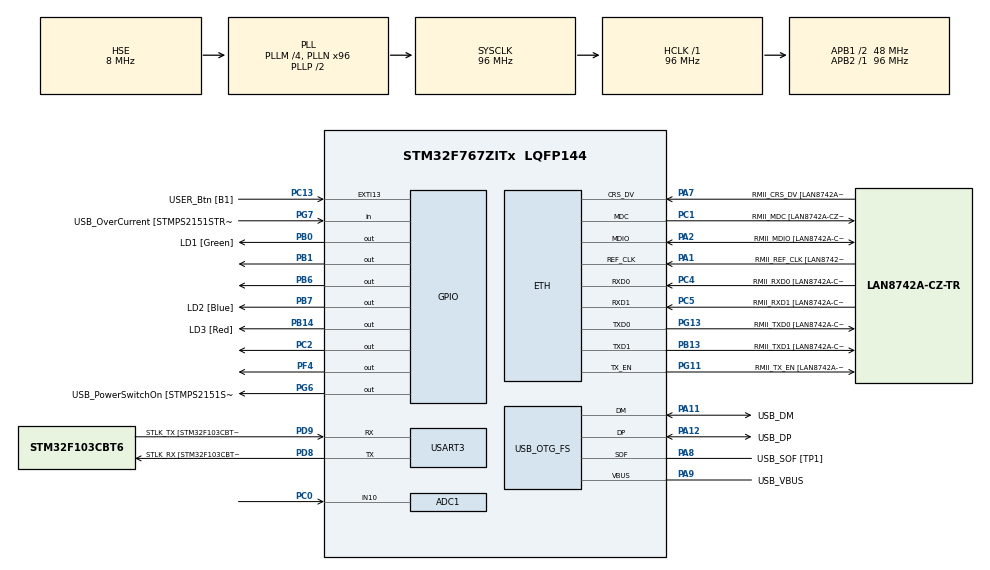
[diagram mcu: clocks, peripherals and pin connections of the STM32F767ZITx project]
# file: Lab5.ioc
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ADC1.Channel-0\#ChannelRegularConversion=ADC_CHANNEL_10
ADC1.ContinuousConvMode=ENABLE
ADC1.EOCSelection=ADC_EOC_SEQ_CONV
ADC1.EnableAnalogWatchDog=false
ADC1.NbrOfConversionFlag=1
ADC1.Rank-0\#ChannelRegularConversion=1
ADC1.SamplingTime-0\#ChannelRegularConversion=ADC_SAMPLETIME_3CYCLES
ADC1.master=1
ETH.MediaInterface=HAL_ETH_RMII_MODE
ETH.PHY_Name=LAN8742A_PHY_ADDRESS
ETH.PHY_Value=0
ETH.PhyAddress=0
Mcu.Family=STM32F7
Mcu.Name=STM32F767ZITx
Mcu.Package=LQFP144
NVIC.PriorityGroup=NVIC_PRIORITYGROUP_4
PA1.GPIO_Label=RMII_REF_CLK [LAN8742A-CZ-TR_REFCLK0]
PA1.Mode=RMII
PA1.Signal=ETH_REF_CLK
PA10.GPIO_Label=USB_ID
PA10.Signal=USB_OTG_FS_ID
PA11.GPIO_Label=USB_DM
PA11.Mode=Device_Only
PA11.Signal=USB_OTG_FS_DM
PA12.GPIO_Label=USB_DP
PA12.Mode=Device_Only
PA12.Signal=USB_OTG_FS_DP
PA13.GPIO_Label=TMS
PA13.Mode=Serial_Wire
PA13.Signal=SYS_JTMS-SWDIO
PA14.GPIO_Label=TCK
PA14.Mode=Serial_Wire
PA14.Signal=SYS_JTCK-SWCLK
PA2.GPIO_Label=RMII_MDIO [LAN8742A-CZ-TR_MDIO]
PA2.Mode=RMII
PA2.Signal=ETH_MDIO
PA7.GPIO_Label=RMII_CRS_DV [LAN8742A-CZ-TR_CRS_DV]
PA7.Mode=RMII
PA7.Signal=ETH_CRS_DV
PA8.GPIO_Label=USB_SOF [TP1]
PA8.Mode=Activate_SOF_FS
PA8.Signal=USB_OTG_FS_SOF
PA9.GPIO_Label=USB_VBUS
PA9.Mode=Activate_VBUS
PA9.Signal=USB_OTG_FS_VBUS
PB0.GPIO_Label=LD1 [Green]
PB0.Signal=GPIO_Output
PB1.Signal=GPIO_Output
PB13.GPIO_Label=RMII_TXD1 [LAN8742A-CZ-TR_TXD1]
PB13.Mode=RMII
PB13.Signal=ETH_TXD1
PB14.GPIO_Label=LD3 [Red]
PB14.Signal=GPIO_Output
PB3.GPIO_Label=SWO
PB3.Signal=SYS_JTDO-SWO
PB6.Signal=GPIO_Output
PB7.GPIO_Label=LD2 [Blue]
PB7.Signal=GPIO_Output
PC0.Signal=ADCx_IN10
PC1.GPIO_Label=RMII_MDC [LAN8742A-CZ-TR_MDC]
PC1.Mode=RMII
PC1.Signal=ETH_MDC
PC13.GPIO_Label=USER_Btn [B1]
PC13.Signal=GPXTI13
PC14/OSC32_IN.Mode=LSE-External-Oscillator
PC14/OSC32_IN.Signal=RCC_OSC32_IN
PC15/OSC32_OUT.Mode=LSE-External-Oscillator
PC15/OSC32_OUT.Signal=RCC_OSC32_OUT
PC2.Signal=GPIO_Output
PC4.GPIO_Label=RMII_RXD0 [LAN8742A-CZ-TR_RXD0]
PC4.Mode=RMII
PC4.Signal=ETH_RXD0
PC5.GPIO_Label=RMII_RXD1 [LAN8742A-CZ-TR_RXD1]
PC5.Mode=RMII
PC5.Signal=ETH_RXD1
PD8.GPIO_Label=STLK_RX [STM32F103CBT6_PA3]
PD8.Mode=Asynchronous
PD8.Signal=USART3_TX
PD9.GPIO_Label=STLK_TX [STM32F103CBT6_PA2]
PD9.Mode=Asynchronous
PD9.Signal=USART3_RX
PF4.Signal=GPIO_Output
PG11.GPIO_Label=RMII_TX_EN [LAN8742A-CZ-TR_TXEN]
PG11.Mode=RMII
PG11.Signal=ETH_TX_EN
PG13.GPIO_Label=RMII_TXD0 [LAN8742A-CZ-TR_TXD0]
PG13.Mode=RMII
PG13.Signal=ETH_TXD0
PG6.GPIO_Label=USB_PowerSwitchOn [STMPS2151STR_EN]
PG6.Signal=GPIO_Output
PG7.GPIO_Label=USB_OverCurrent [STMPS2151STR_FAULT]
PG7.Signal=GPIO_Input
PH0/OSC_IN.GPIO_Label=MCO [STM32F103CBT6_PA8]
PH0/OSC_IN.Mode=HSE-External-Clock-Source
PH0/OSC_IN.Signal=RCC_OSC_IN
PH1/OSC_OUT.Mode=HSE-External-Clock-Source
PH1/OSC_OUT.Signal=RCC_OSC_OUT
ProjectManager.HeapSize=0x200
ProjectManager.StackSize=0x400
ProjectManager.TargetToolchain=CMake
RCC.48MHZClocksFreq_Value=24000000
RCC.AHBFreq_Value=96000000
RCC.APB1CLKDivider=RCC_HCLK_DIV2
RCC.APB1Freq_Value=48000000
RCC.APB1TimFreq_Value=96000000
RCC.APB2Freq_Value=96000000
RCC.APB2TimFreq_Value=96000000
RCC.CortexFreq_Value=96000000
RCC.HCLKFreq_Value=96000000
RCC.HSE_VALUE=8000000
RCC.HSI_VALUE=16000000
RCC.PLLM=4
RCC.PLLMUL=RCC_PLL_MUL9
RCC.PLLN=96
RCC.PLLQ=4
RCC.PRESCALERUSB=RCC_USBCLKSOURCE_PLL_DIV1_5
RCC.SYSCLKFreq_VALUE=96000000
RCC.SYSCLKSource=RCC_SYSCLKSOURCE_PLLCLK
RCC.SYSCLKSourceVirtual=RCC_SYSCLKSOURCE_PLLCLK
RCC.USBFreq_Value=48000000
RCC.VCOOutputFreq_Value=192000000
SH.ADCx_IN10.0=ADC1_IN10,IN10
USART3.VirtualMode-Asynchronous=VM_ASYNC
USB_OTG_FS.VirtualMode=Device_Only
board=NUCLEO-F767ZI

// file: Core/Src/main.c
/* USER CODE BEGIN Header */
/**
  ******************************************************************************
  * @file           : main.c
  * @brief          : Main program body
  ******************************************************************************
  * @attention
  *
  * Copyright (c) 2025 STMicroelectronics.
  * All rights reserved.
  *
  * This software is licensed under terms that can be found in the LICENSE file
  * in the root directory of this software component.
  * If no LICENSE file comes with this software, it is provided AS-IS.
  *
  ******************************************************************************
  */

#include "stdio.h"

/* USER CODE END Header */
#include "main.h"
#include "string.h"

#if defined ( __ICCARM__ ) /*!< IAR Compiler */
#pragma location=0x2007c000
ETH_DMADescTypeDef  DMARxDscrTab[ETH_RX_DESC_CNT]; /* Ethernet Rx DMA Descriptors */
#pragma location=0x2007c0a0
ETH_DMADescTypeDef  DMATxDscrTab[ETH_TX_DESC_CNT]; /* Ethernet Tx DMA Descriptors */

#elif defined ( __CC_ARM )  /* MDK ARM Compiler */

__attribute__((at(0x2007c000))) ETH_DMADescTypeDef  DMARxDscrTab[ETH_RX_DESC_CNT]; /* Ethernet Rx DMA Descriptors */
__attribute__((at(0x2007c0a0))) ETH_DMADescTypeDef  DMATxDscrTab[ETH_TX_DESC_CNT]; /* Ethernet Tx DMA Descriptors */

#elif defined ( __GNUC__ ) /* GNU Compiler */

ETH_DMADescTypeDef DMARxDscrTab[ETH_RX_DESC_CNT] __attribute__((section(".RxDecripSection"))); /* Ethernet Rx DMA Descriptors */
ETH_DMADescTypeDef DMATxDscrTab[ETH_TX_DESC_CNT] __attribute__((section(".TxDecripSection")));   /* Ethernet Tx DMA Descriptors */
#endif

ETH_TxPacketConfig TxConfig;

ADC_HandleTypeDef hadc1;

ETH_HandleTypeDef heth;

UART_HandleTypeDef huart3;

PCD_HandleTypeDef hpcd_USB_OTG_FS;

/* USER CODE BEGIN PV */

uint32_t adc1Output = 0;
uint32_t adc1avg8 = 0;
uint32_t adc1avg16 = 0;
uint8_t adc1OutputLevel = 0;

typedef struct {
  GPIO_TypeDef *port;
  uint16_t pin;
} LED_Pin;
LED_Pin ledPins[] = {{GPIOB, GPIO_PIN_1},
                      {GPIOC, GPIO_PIN_2},
                      {GPIOF, GPIO_PIN_4},
                      {GPIOB, GPIO_PIN_6}};

/* USER CODE END PV */

void SystemClock_Config(void);
static void MX_GPIO_Init(void);
static void MX_ADC1_Init(void);
static void MX_ETH_Init(void);
static void MX_USART3_UART_Init(void);
static void MX_USB_OTG_FS_PCD_Init(void);

/* USER CODE BEGIN 0 */

void displayHex(uint32_t value) {
  char valueHex[12] = "\0";
  sprintf(valueHex, "%#010x", adc1Output);

  while (__HAL_UART_GET_FLAG(&huart3, UART_FLAG_TC) == RESET) {}
  HAL_UART_Transmit(&huart3, (uint8_t*) valueHex, strlen(valueHex), 1000);
}

void displayStateToLed() {
  for(unsigned int i = 0; i <= 4; i++) {
    GPIO_PinState state = GPIO_PIN_RESET;
    if (i + 1 > adc1OutputLevel) {
      state = GPIO_PIN_SET;
    }

    HAL_GPIO_WritePin(ledPins[i].port, ledPins[i].pin, state);
  }
}

int average_8 (int x) {
  static int sample[8];
  static int i = 0;
  static int total = 0;

  total += x - sample[i];
  sample[i] = x;
  i = (i==7 ? 0 : i + 1);

  return total>>3;
}

int average_16 (int x) {
  static int sample[16];
  static int i = 0;
  static int total = 0;

  total += x - sample[i];
  sample[i] = x;
  i = (i==15 ? 0 : i + 1);

  return total>>4;
}

/* USER CODE END 0 */

int main(void)
{

  /* MCU Configuration--------------------------------------------------------*/

  /* Reset of all peripherals, Initializes the Flash interface and the Systick. */
  HAL_Init();

  /* Configure the system clock */
  SystemClock_Config();

  /* Initialize all configured peripherals */
  MX_GPIO_Init();
  MX_ADC1_Init();
  MX_ETH_Init();
  MX_USART3_UART_Init();
  MX_USB_OTG_FS_PCD_Init();
  /* USER CODE BEGIN 2 */

  char adc1OutputPrefix[] = "ADC1_CH10 ";
  char adc1VinTemplate[] = "  Vin = %.2f V\r\n";
  float adc1OutputVoltage = 0;

  /* USER CODE END 2 */

  /* Infinite loop */
  /* USER CODE BEGIN WHILE */
  HAL_ADC_Start(&hadc1);
  while (1)
  {
    /* USER CODE END WHILE */

    /* USER CODE BEGIN 3 */
    while (HAL_ADC_PollForConversion(&hadc1, 100) != HAL_OK) {}
    adc1Output = HAL_ADC_GetValue(&hadc1);
    adc1OutputVoltage = ((float)adc1Output / (float)(uint32_t)0x00000fff) * 3.3f;
    adc1avg8 = average_8(adc1Output);
    adc1avg16 = average_16(adc1Output);

    adc1OutputLevel = adc1Output / 0x333;

    while (__HAL_UART_GET_FLAG(&huart3, UART_FLAG_TC) == RESET) {}
    HAL_UART_Transmit(&huart3, (uint8_t*) adc1OutputPrefix, strlen(adc1OutputPrefix), 1000);
    displayHex(adc1Output);

    while (__HAL_UART_GET_FLAG(&huart3, UART_FLAG_TC) == RESET) {}
    char adc1OutputVinText[20] = "\0";
    sprintf(adc1OutputVinText, adc1VinTemplate, adc1OutputVoltage);
    while (__HAL_UART_GET_FLAG(&huart3, UART_FLAG_TC) == RESET) {}
    HAL_UART_Transmit(&huart3, (uint8_t*) adc1OutputVinText, strlen(adc1OutputVinText), 1000);

    displayStateToLed();

    HAL_Delay(400);
  }
  /* USER CODE END 3 */
}

void SystemClock_Config(void)
{
  RCC_OscInitTypeDef RCC_OscInitStruct = {0};
  RCC_ClkInitTypeDef RCC_ClkInitStruct = {0};

  /** Configure LSE Drive Capability
  */
  HAL_PWR_EnableBkUpAccess();

  /** Configure the main internal regulator output voltage
  */
  __HAL_RCC_PWR_CLK_ENABLE();
  __HAL_PWR_VOLTAGESCALING_CONFIG(PWR_REGULATOR_VOLTAGE_SCALE3);

  /** Initializes the RCC Oscillators according to the specified parameters
  * in the RCC_OscInitTypeDef structure.
  */
  RCC_OscInitStruct.OscillatorType = RCC_OSCILLATORTYPE_HSE;
  RCC_OscInitStruct.HSEState = RCC_HSE_BYPASS;
  RCC_OscInitStruct.PLL.PLLState = RCC_PLL_ON;
  RCC_OscInitStruct.PLL.PLLSource = RCC_PLLSOURCE_HSE;
  RCC_OscInitStruct.PLL.PLLM = 4;
  RCC_OscInitStruct.PLL.PLLN = 96;
  RCC_OscInitStruct.PLL.PLLP = RCC_PLLP_DIV2;
  RCC_OscInitStruct.PLL.PLLQ = 4;
  RCC_OscInitStruct.PLL.PLLR = 2;
  if (HAL_RCC_OscConfig(&RCC_OscInitStruct) != HAL_OK)
  {
    Error_Handler();
  }

  /** Activate the Over-Drive mode
  */
  if (HAL_PWREx_EnableOverDrive() != HAL_OK)
  {
    Error_Handler();
  }

  /** Initializes the CPU, AHB and APB buses clocks
  */
  RCC_ClkInitStruct.ClockType = RCC_CLOCKTYPE_HCLK|RCC_CLOCKTYPE_SYSCLK
                              |RCC_CLOCKTYPE_PCLK1|RCC_CLOCKTYPE_PCLK2;
  RCC_ClkInitStruct.SYSCLKSource = RCC_SYSCLKSOURCE_PLLCLK;
  RCC_ClkInitStruct.AHBCLKDivider = RCC_SYSCLK_DIV1;
  RCC_ClkInitStruct.APB1CLKDivider = RCC_HCLK_DIV2;
  RCC_ClkInitStruct.APB2CLKDivider = RCC_HCLK_DIV1;

  if (HAL_RCC_ClockConfig(&RCC_ClkInitStruct, FLASH_LATENCY_3) != HAL_OK)
  {
    Error_Handler();
  }
}

static void MX_ADC1_Init(void)
{

  ADC_ChannelConfTypeDef sConfig = {0};

  /** Configure the global features of the ADC (Clock, Resolution, Data Alignment and number of conversion)
  */
  hadc1.Instance = ADC1;
  hadc1.Init.ClockPrescaler = ADC_CLOCK_SYNC_PCLK_DIV4;
  hadc1.Init.Resolution = ADC_RESOLUTION_12B;
  hadc1.Init.ScanConvMode = ADC_SCAN_DISABLE;
  hadc1.Init.ContinuousConvMode = ENABLE;
  hadc1.Init.DiscontinuousConvMode = DISABLE;
  hadc1.Init.ExternalTrigConvEdge = ADC_EXTERNALTRIGCONVEDGE_NONE;
  hadc1.Init.ExternalTrigConv = ADC_SOFTWARE_START;
  hadc1.Init.DataAlign = ADC_DATAALIGN_RIGHT;
  hadc1.Init.NbrOfConversion = 1;
  hadc1.Init.DMAContinuousRequests = DISABLE;
  hadc1.Init.EOCSelection = ADC_EOC_SEQ_CONV;
  if (HAL_ADC_Init(&hadc1) != HAL_OK)
  {
    Error_Handler();
  }

  /** Configure for the selected ADC regular channel its corresponding rank in the sequencer and its sample time.
  */
  sConfig.Channel = ADC_CHANNEL_10;
  sConfig.Rank = ADC_REGULAR_RANK_1;
  sConfig.SamplingTime = ADC_SAMPLETIME_3CYCLES;
  if (HAL_ADC_ConfigChannel(&hadc1, &sConfig) != HAL_OK)
  {
    Error_Handler();
  }

}

static void MX_ETH_Init(void)
{

   static uint8_t MACAddr[6];

  heth.Instance = ETH;
  MACAddr[0] = 0x00;
  MACAddr[1] = 0x80;
  MACAddr[2] = 0xE1;
  MACAddr[3] = 0x00;
  MACAddr[4] = 0x00;
  MACAddr[5] = 0x00;
  heth.Init.MACAddr = &MACAddr[0];
  heth.Init.MediaInterface = HAL_ETH_RMII_MODE;
  heth.Init.TxDesc = DMATxDscrTab;
  heth.Init.RxDesc = DMARxDscrTab;
  heth.Init.RxBuffLen = 1524;

  if (HAL_ETH_Init(&heth) != HAL_OK)
  {
    Error_Handler();
  }

  memset(&TxConfig, 0 , sizeof(ETH_TxPacketConfig));
  TxConfig.Attributes = ETH_TX_PACKETS_FEATURES_CSUM | ETH_TX_PACKETS_FEATURES_CRCPAD;
  TxConfig.ChecksumCtrl = ETH_CHECKSUM_IPHDR_PAYLOAD_INSERT_PHDR_CALC;
  TxConfig.CRCPadCtrl = ETH_CRC_PAD_INSERT;

}

static void MX_USART3_UART_Init(void)
{

  huart3.Instance = USART3;
  huart3.Init.BaudRate = 115200;
  huart3.Init.WordLength = UART_WORDLENGTH_8B;
  huart3.Init.StopBits = UART_STOPBITS_1;
  huart3.Init.Parity = UART_PARITY_NONE;
  huart3.Init.Mode = UART_MODE_TX_RX;
  huart3.Init.HwFlowCtl = UART_HWCONTROL_NONE;
  huart3.Init.OverSampling = UART_OVERSAMPLING_16;
  huart3.Init.OneBitSampling = UART_ONE_BIT_SAMPLE_DISABLE;
  huart3.AdvancedInit.AdvFeatureInit = UART_ADVFEATURE_NO_INIT;
  if (HAL_UART_Init(&huart3) != HAL_OK)
  {
    Error_Handler();
  }

}

static void MX_USB_OTG_FS_PCD_Init(void)
{

  hpcd_USB_OTG_FS.Instance = USB_OTG_FS;
  hpcd_USB_OTG_FS.Init.dev_endpoints = 6;
  hpcd_USB_OTG_FS.Init.speed = PCD_SPEED_FULL;
  hpcd_USB_OTG_FS.Init.dma_enable = DISABLE;
  hpcd_USB_OTG_FS.Init.phy_itface = PCD_PHY_EMBEDDED;
  hpcd_USB_OTG_FS.Init.Sof_enable = ENABLE;
  hpcd_USB_OTG_FS.Init.low_power_enable = DISABLE;
  hpcd_USB_OTG_FS.Init.lpm_enable = DISABLE;
  hpcd_USB_OTG_FS.Init.vbus_sensing_enable = ENABLE;
  hpcd_USB_OTG_FS.Init.use_dedicated_ep1 = DISABLE;
  if (HAL_PCD_Init(&hpcd_USB_OTG_FS) != HAL_OK)
  {
    Error_Handler();
  }

}

static void MX_GPIO_Init(void)
{
  GPIO_InitTypeDef GPIO_InitStruct = {0};

  /* GPIO Ports Clock Enable */
  __HAL_RCC_GPIOC_CLK_ENABLE();
  __HAL_RCC_GPIOF_CLK_ENABLE();
  __HAL_RCC_GPIOH_CLK_ENABLE();
  __HAL_RCC_GPIOA_CLK_ENABLE();
  __HAL_RCC_GPIOB_CLK_ENABLE();
  __HAL_RCC_GPIOD_CLK_ENABLE();
  __HAL_RCC_GPIOG_CLK_ENABLE();

  /*Configure GPIO pin Output Level */
  HAL_GPIO_WritePin(GPIOF, GPIO_PIN_4, GPIO_PIN_RESET);

  /*Configure GPIO pin Output Level */
  HAL_GPIO_WritePin(GPIOC, GPIO_PIN_2, GPIO_PIN_RESET);

  /*Configure GPIO pin Output Level */
  HAL_GPIO_WritePin(GPIOB, LD1_Pin|GPIO_PIN_1|LD3_Pin|GPIO_PIN_6
                          |LD2_Pin, GPIO_PIN_RESET);

  /*Configure GPIO pin Output Level */
  HAL_GPIO_WritePin(USB_PowerSwitchOn_GPIO_Port, USB_PowerSwitchOn_Pin, GPIO_PIN_RESET);

  /*Configure GPIO pin : USER_Btn_Pin */
  GPIO_InitStruct.Pin = USER_Btn_Pin;
  GPIO_InitStruct.Mode = GPIO_MODE_IT_RISING;
  GPIO_InitStruct.Pull = GPIO_NOPULL;
  HAL_GPIO_Init(USER_Btn_GPIO_Port, &GPIO_InitStruct);

  /*Configure GPIO pin : PF4 */
  GPIO_InitStruct.Pin = GPIO_PIN_4;
  GPIO_InitStruct.Mode = GPIO_MODE_OUTPUT_PP;
  GPIO_InitStruct.Pull = GPIO_NOPULL;
  GPIO_InitStruct.Speed = GPIO_SPEED_FREQ_LOW;
  HAL_GPIO_Init(GPIOF, &GPIO_InitStruct);

  /*Configure GPIO pin : PC2 */
  GPIO_InitStruct.Pin = GPIO_PIN_2;
  GPIO_InitStruct.Mode = GPIO_MODE_OUTPUT_PP;
  GPIO_InitStruct.Pull = GPIO_NOPULL;
  GPIO_InitStruct.Speed = GPIO_SPEED_FREQ_LOW;
  HAL_GPIO_Init(GPIOC, &GPIO_InitStruct);

  /*Configure GPIO pins : LD1_Pin PB1 LD3_Pin PB6
                           LD2_Pin */
  GPIO_InitStruct.Pin = LD1_Pin|GPIO_PIN_1|LD3_Pin|GPIO_PIN_6
                          |LD2_Pin;
  GPIO_InitStruct.Mode = GPIO_MODE_OUTPUT_PP;
  GPIO_InitStruct.Pull = GPIO_NOPULL;
  GPIO_InitStruct.Speed = GPIO_SPEED_FREQ_LOW;
  HAL_GPIO_Init(GPIOB, &GPIO_InitStruct);

  /*Configure GPIO pin : USB_PowerSwitchOn_Pin */
  GPIO_InitStruct.Pin = USB_PowerSwitchOn_Pin;
  GPIO_InitStruct.Mode = GPIO_MODE_OUTPUT_PP;
  GPIO_InitStruct.Pull = GPIO_NOPULL;
  GPIO_InitStruct.Speed = GPIO_SPEED_FREQ_LOW;
  HAL_GPIO_Init(USB_PowerSwitchOn_GPIO_Port, &GPIO_InitStruct);

  /*Configure GPIO pin : USB_OverCurrent_Pin */
  GPIO_InitStruct.Pin = USB_OverCurrent_Pin;
  GPIO_InitStruct.Mode = GPIO_MODE_INPUT;
  GPIO_InitStruct.Pull = GPIO_NOPULL;
  HAL_GPIO_Init(USB_OverCurrent_GPIO_Port, &GPIO_InitStruct);

}

void Error_Handler(void)
{
  __disable_irq();
  while (1)
  {
  }
}
